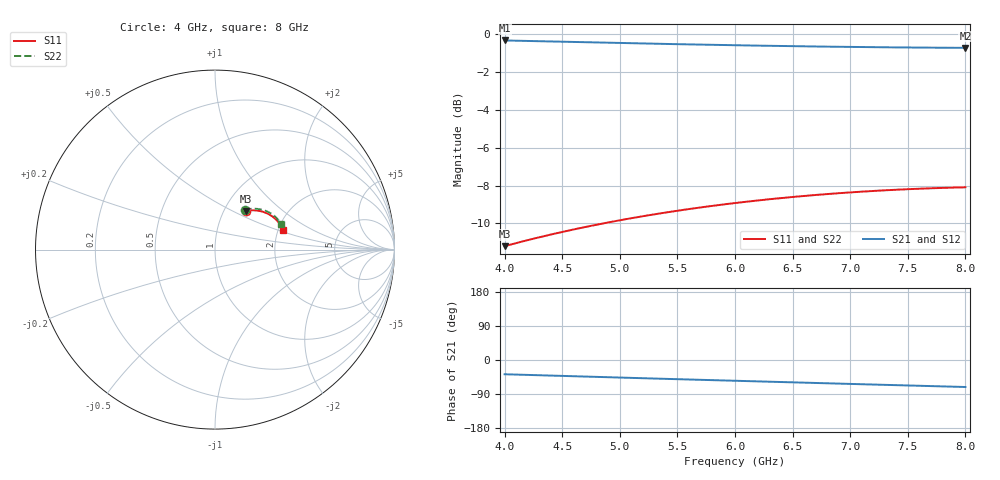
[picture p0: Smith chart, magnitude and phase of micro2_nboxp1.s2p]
! Sonnet Data File
! From: emgraph Version : 15.53-Lite
! From Emgraph Data: micro2_nboxp1
! Data File Written: 12/30/2014 11:45:18
!< HDATE 12/30/2014 11:41:51
!< MDATE 12/30/2014 11:41:51
# GHZ S RI R 50.00000
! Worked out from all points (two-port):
!   201 points, 4 GHz to 8 GHz, reference 50 ohm
!   highest |S21| = -0.34 dB at 4 GHz (marker M1); lowest = -0.7 dB at 8 GHz (marker M2)
!   |S21| within 3 dB of the highest: start of sweep to end of sweep
!   lowest |S11| = -11.2 dB at 4 GHz (marker M3), VSWR 1.76, Z = 63.1 + j29.4 ohm
!   |S11| at or under -10 dB: start of sweep to 4.855 GHz
!   |S22| runs from -11.2 to -8.1 dB; largest |S21 - S12| = 0
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4  0.1717 0.2153  0.7616 -0.5867  0.7616 -0.5867  0.1644 0.221
!< P1 F=4.0 Eeff=(2.7177379 0.0) Z0=(103.275545 0.0) R=0.0 C=0.01966654
!< P2 F=4.0 Eeff=(2.7177379 0.0) Z0=(103.275545 0.0) R=0.0 C=0.01966654
4.16  0.1825 0.2172  0.7449 -0.6038  0.7449 -0.6038  0.1747 0.2235
4.34  0.1946 0.2185  0.7259 -0.6225  0.7259 -0.6225  0.1863 0.2256
4.5  0.2053 0.2191  0.7086 -0.6385  0.7086 -0.6385  0.1966 0.2269
4.68  0.2172 0.2191  0.6889 -0.6559  0.6889 -0.6559  0.2082 0.2277
4.84  0.2277 0.2185  0.6712 -0.6707  0.6712 -0.6707  0.2183 0.2279
5  0.2381 0.2173  0.6533 -0.6851  0.6533 -0.6851  0.2283 0.2275
5.16  0.2483 0.2155  0.6352 -0.6989  0.6352 -0.6989  0.2382 0.2267
5.34  0.2596 0.2129  0.6146 -0.7138  0.6146 -0.7138  0.2491 0.2251
5.5  0.2694 0.21  0.5962 -0.7266  0.5962 -0.7266  0.2586 0.2232
5.66  0.2789 0.2066  0.5776 -0.7389  0.5776 -0.7389  0.2679 0.2208
5.82  0.2882 0.2028  0.5589 -0.7507  0.5589 -0.7507  0.2769 0.2179
6  0.2983 0.1978  0.5377 -0.7634  0.5377 -0.7634  0.2867 0.2142
6.16  0.3069 0.193  0.5187 -0.7743  0.5187 -0.7743  0.2952 0.2104
6.34  0.3162 0.187  0.4973 -0.7859  0.4973 -0.7859  0.3044 0.2057
6.68  0.3326 0.1742  0.4566 -0.8066  0.4566 -0.8066  0.3205 0.1955
7.02  0.3472 0.1597  0.4155 -0.8254  0.4155 -0.8254  0.3351 0.1838
7.34  0.3592 0.1447  0.3765 -0.8416  0.3765 -0.8416  0.3473 0.1714
7.5  0.3646 0.1367  0.3569 -0.8491  0.3569 -0.8491  0.3528 0.1648
7.68  0.37 0.1273  0.3347 -0.8572  0.3347 -0.8572  0.3584 0.1571
7.84  0.3744 0.1188  0.3149 -0.864  0.3149 -0.864  0.363 0.15
8  0.3782 0.11  0.2951 -0.8705  0.2951 -0.8705  0.3671 0.1427
